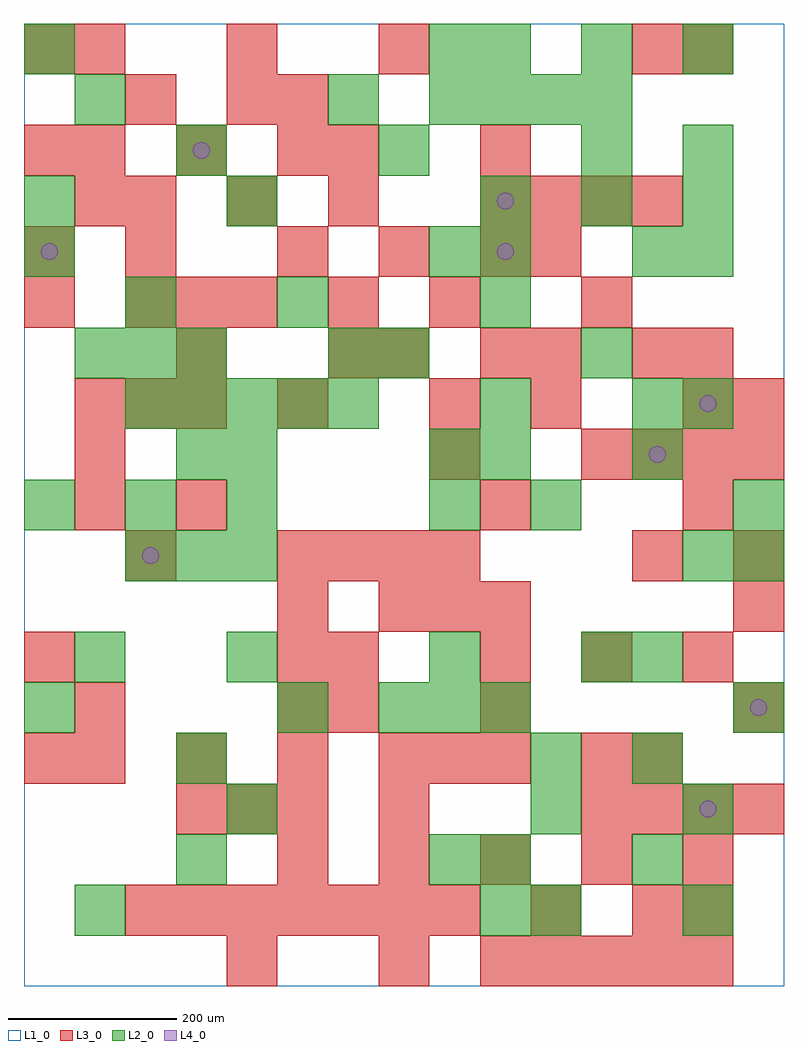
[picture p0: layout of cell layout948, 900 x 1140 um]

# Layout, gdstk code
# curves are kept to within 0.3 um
import gdstk
lib = gdstk.Library(unit=1e-6, precision=1e-09)
def R(c, l, rs):  # rectangles x0, y0, x1, y1
    for r in rs: c.add(gdstk.rectangle(r[:2], r[2:], *l))
def A(c, l, x, y, w, h, nx, ny, dx, dy):  # array of equal rectangles
    R(c, l, [(x+i*dx, y+j*dy, x+i*dx+w, y+j*dy+h) for i in range(nx) for j in range(ny)])
def P(c, l, *ps):  # polygons
    for p in ps: c.add(gdstk.Polygon(p, *l))
L1_0 = (1, 0)
L2_0 = (2, 0)
L3_0 = (3, 0)
L4_0 = (4, 0)

layout948 = lib.new_cell('layout948')
R(layout948, L1_0, [(0,0,900,1140)])
A(layout948, L2_0, 720, 120, 60, 60, 1, 3, 0, 120)
A(layout948, L2_0, 420, 300, 60, 60, 3, 1, 60, 0)
A(layout948, L2_0, 120, 480, 60, 60, 3, 1, 60, 0)
A(layout948, L2_0, 780, 480, 60, 60, 1, 3, 0, 180)
A(layout948, L2_0, 0, 540, 60, 60, 3, 1, 120, 0)
A(layout948, L2_0, 480, 600, 60, 60, 1, 3, 0, 240)
A(layout948, L2_0, 120, 660, 60, 60, 5, 1, 60, 0)
A(layout948, L2_0, 60, 720, 60, 60, 3, 1, 60, 0)
A(layout948, L2_0, 540, 900, 60, 60, 3, 2, 120, 180)
A(layout948, L2_0, 180, 960, 60, 60, 3, 1, 240, 0)
A(layout948, L2_0, 480, 1020, 60, 60, 4, 1, 60, 0)
R(layout948, L2_0, [(60,60,120,120), (540,60,600,120), (600,60,660,120), (780,60,840,120), (180,120,240,180), (480,120,540,180), (540,120,600,180), (240,180,300,240), (600,180,660,240), (780,180,840,240), (180,240,240,300), (600,240,660,300), (0,300,60,360), (300,300,360,360), (840,300,900,360), (60,360,120,420), (240,360,300,420), (480,360,540,420), (660,360,720,420), (840,480,900,540), (480,540,540,600), (600,540,660,600), (840,540,900,600), (180,600,240,660), (240,600,300,660), (540,600,600,660), (720,600,780,660), (540,660,600,720), (720,660,780,720), (360,720,420,780), (420,720,480,780), (660,720,720,780), (120,780,180,840), (300,780,360,840), (540,780,600,840), (0,840,60,900), (540,840,600,900), (720,840,780,900), (0,900,60,960), (240,900,300,960), (780,960,840,1020), (60,1020,120,1080), (360,1020,420,1080), (0,1080,60,1140)])
A(layout948, L3_0, 540, 0, 60, 60, 5, 1, 60, 0)
A(layout948, L3_0, 120, 60, 60, 60, 7, 1, 60, 0)
A(layout948, L3_0, 300, 120, 60, 60, 5, 1, 120, 0)
A(layout948, L3_0, 180, 180, 60, 60, 3, 1, 60, 0)
A(layout948, L3_0, 660, 180, 60, 60, 4, 2, 60, 420)
A(layout948, L3_0, 60, 240, 60, 60, 4, 1, 120, 0)
A(layout948, L3_0, 720, 240, 60, 60, 1, 3, 0, 240)
A(layout948, L3_0, 300, 300, 60, 60, 1, 3, 0, 60)
A(layout948, L3_0, 540, 360, 60, 60, 3, 1, 120, 0)
A(layout948, L3_0, 420, 420, 60, 60, 3, 1, 60, 0)
A(layout948, L3_0, 300, 480, 60, 60, 4, 1, 60, 0)
A(layout948, L3_0, 60, 660, 60, 60, 3, 1, 60, 0)
A(layout948, L3_0, 120, 780, 60, 60, 3, 1, 60, 0)
A(layout948, L3_0, 0, 840, 60, 60, 1, 3, 0, 120)
A(layout948, L3_0, 300, 840, 60, 60, 3, 1, 120, 0)
A(layout948, L3_0, 120, 900, 60, 60, 3, 1, 120, 0)
A(layout948, L3_0, 540, 900, 60, 60, 4, 1, 60, 0)
A(layout948, L3_0, 60, 960, 60, 60, 3, 1, 120, 0)
A(layout948, L3_0, 60, 1080, 60, 60, 3, 1, 180, 0)
R(layout948, L3_0, [(240,0,300,60), (420,0,480,60), (600,60,660,120), (720,60,780,120), (780,60,840,120), (420,180,480,240), (0,240,60,300), (480,240,540,300), (540,240,600,300), (660,240,720,300), (60,300,120,360), (360,300,420,360), (540,300,600,360), (840,300,900,360), (0,360,60,420), (360,360,420,420), (840,420,900,480), (120,480,180,540), (840,480,900,540), (60,540,120,600), (180,540,240,600), (540,540,600,600), (780,540,840,600), (60,600,120,660), (480,600,540,660), (300,660,360,720), (480,660,540,720), (600,660,660,720), (780,660,840,720), (840,660,900,720), (180,720,240,780), (360,720,420,780), (420,720,480,780), (540,720,600,780), (600,720,660,780), (780,720,840,780), (0,780,60,840), (360,780,420,840), (480,780,540,840), (660,780,720,840), (120,840,180,900), (600,840,660,900), (60,900,120,960), (360,960,420,1020), (540,960,600,1020), (120,1020,180,1080), (240,1020,300,1080), (300,1020,360,1080), (720,1080,780,1140), (780,1080,840,1140)])
P(layout948, L4_0, [(40,870),(39.239,873.827),(37.071,877.071),(33.827,879.239),(30,880),(26.173,879.239),(22.929,877.071),(20.761,873.827),(20,870),(20.761,866.173),(22.929,862.929),(26.173,860.761),(30,860),(33.827,860.761),(37.071,862.929),(39.239,866.173)],
  [(160,510),(159.239,513.827),(157.071,517.071),(153.827,519.239),(150,520),(146.173,519.239),(142.929,517.071),(140.761,513.827),(140,510),(140.761,506.173),(142.929,502.929),(146.173,500.761),(150,500),(153.827,500.761),(157.071,502.929),(159.239,506.173)],
  [(220,990),(219.239,993.827),(217.071,997.071),(213.827,999.239),(210,1000),(206.173,999.239),(202.929,997.071),(200.761,993.827),(200,990),(200.761,986.173),(202.929,982.929),(206.173,980.761),(210,980),(213.827,980.761),(217.071,982.929),(219.239,986.173)],
  [(580,870),(579.239,873.827),(577.071,877.071),(573.827,879.239),(570,880),(566.173,879.239),(562.929,877.071),(560.761,873.827),(560,870),(560.761,866.173),(562.929,862.929),(566.173,860.761),(570,860),(573.827,860.761),(577.071,862.929),(579.239,866.173)],
  [(580,930),(579.239,933.827),(577.071,937.071),(573.827,939.239),(570,940),(566.173,939.239),(562.929,937.071),(560.761,933.827),(560,930),(560.761,926.173),(562.929,922.929),(566.173,920.761),(570,920),(573.827,920.761),(577.071,922.929),(579.239,926.173)],
  [(760,630),(759.239,633.827),(757.071,637.071),(753.827,639.239),(750,640),(746.173,639.239),(742.929,637.071),(740.761,633.827),(740,630),(740.761,626.173),(742.929,622.929),(746.173,620.761),(750,620),(753.827,620.761),(757.071,622.929),(759.239,626.173)],
  [(820,210),(819.239,213.827),(817.071,217.071),(813.827,219.239),(810,220),(806.173,219.239),(802.929,217.071),(800.761,213.827),(800,210),(800.761,206.173),(802.929,202.929),(806.173,200.761),(810,200),(813.827,200.761),(817.071,202.929),(819.239,206.173)],
  [(820,690),(819.239,693.827),(817.071,697.071),(813.827,699.239),(810,700),(806.173,699.239),(802.929,697.071),(800.761,693.827),(800,690),(800.761,686.173),(802.929,682.929),(806.173,680.761),(810,680),(813.827,680.761),(817.071,682.929),(819.239,686.173)],
  [(880,330),(879.239,333.827),(877.071,337.071),(873.827,339.239),(870,340),(866.173,339.239),(862.929,337.071),(860.761,333.827),(860,330),(860.761,326.173),(862.929,322.929),(866.173,320.761),(870,320),(873.827,320.761),(877.071,322.929),(879.239,326.173)])

lib.write_gds('layout948.gds')
